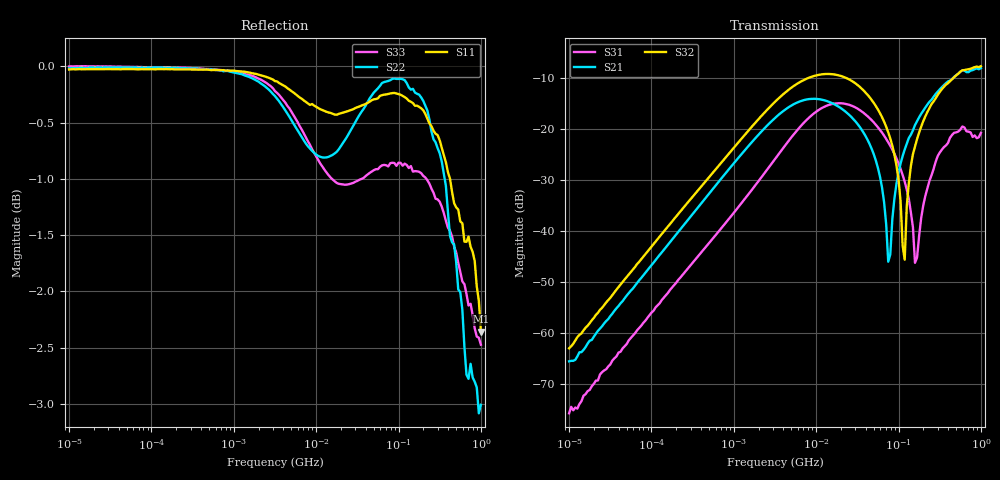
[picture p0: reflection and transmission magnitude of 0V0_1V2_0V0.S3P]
!Keysight Technologies,E5080A,MY55100144,A.11.70.03
!Date: Monday, November 13, 2017 17:24:07
!Correction: S11(Full 3 Port(1,2,3))
!S12(Full 3 Port(1,2,3))
!S13(Full 3 Port(1,2,3))
!S21(Full 3 Port(1,2,3))
!S22(Full 3 Port(1,2,3))
!S23(Full 3 Port(1,2,3))
!S31(Full 3 Port(1,2,3))
!S32(Full 3 Port(1,2,3))
!S33(Full 3 Port(1,2,3))
!S3P File: Measurements: <S11,S12,S13>,
!<S21,S22,S23>,
!<S31,S32,S33>:Log Frequency Sweep
# Hz S  RI  R 50
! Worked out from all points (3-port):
!   201 points, 10 kHz to 1 GHz, reference 50 ohm
!   strongest paths, dB at 10 kHz, 177.8 kHz, 3.162 MHz, 56.23 MHz, 1 GHz:
!     S32: -62.9, -38.1, -14.6, -16.2, -7.7
!     S21: -65.5, -41.6, -17.8, -27.6, -8.0
!     S31: -75.7, -51.0, -25.8, -19.6, -20.7
!   lowest |S11| = -2.4 dB at 1 GHz (marker M1), VSWR 7.42, Z = 371 + j10.5 ohm
!   |S11| at or under -10 dB: nowhere
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10000  0.9968 -0.00189  2.85e-06 0.000461  1.42e-05 0.000147
       0.000245 0.000473  0.998 -0.00387  2.74e-05 0.000734
       -1.16e-05 0.000165  3.53e-05 0.000714  0.9998 -0.00237
3162278  0.8312 -0.5285  0.0809 0.0991  0.0104 0.05
         0.0814 0.0996  0.619 -0.7467  0.1019 0.1548
         0.0104 0.0499  0.1021 0.1548  0.9351 -0.2759
1.188502e7  -0.0776 -0.9531  0.1912 -0.0294  0.1433 0.0757
            0.1917 -0.03  -0.4633 -0.7844  0.3434 0.0315
            0.1435 0.0755  0.3436 0.0315  0.5547 -0.7121
4.466836e7  -0.8982 -0.3515  0.0321 -0.0634  0.084 -0.0967
            0.0322 -0.0635  -0.955 -0.1568  0.1109 -0.1724
            0.0839 -0.0969  0.1108 -0.1723  -0.5067 -0.7399
7.498942e7  -0.9695 -0.0721  0.00405 -0.00303  0.0208 -0.0715
            0.00403 -0.00302  -0.9776 0.1212  0.0171 -0.0915
            0.0208 -0.0715  0.017 -0.0915  -0.7981 -0.4217
1.188502e8  -0.9538 0.1708  0.0189 0.0603  0.000231 -0.0306
            0.019 0.0603  -0.9035 0.3946  0.00156 0.0051
            0.000189 -0.0306  0.00155 0.00504  -0.8999 -0.0984
1.584893e8  -0.9005 0.334  0.0499 0.0976  0.00197 -0.00453
            0.05 0.0977  -0.7891 0.5702  0.0285 0.061
            0.002 -0.00449  0.0286 0.061  -0.8921 0.1063
3.758374e8  -0.3959 0.8155  0.2784 0.044  0.0689 -0.00574
            0.2786 0.0438  0.0732 0.8818  0.2659 0.0617
            0.069 -0.00571  0.2657 0.0617  -0.5061 0.6877
6.683439e8  0.3561 0.756  0.2261 -0.2824  0.0184 -0.0937
            0.2261 -0.2828  0.6682 0.2927  0.2773 -0.2653
            0.0183 -0.0937  0.2773 -0.2649  0.1797 0.7718
1e9  0.7624 0.00591  -0.0945 -0.3854  -0.0557 -0.0726
     -0.0949 -0.3854  0.591 -0.3888  -0.045 -0.4114
     -0.056 -0.0729  -0.0448 -0.4117  0.6857 0.3093
